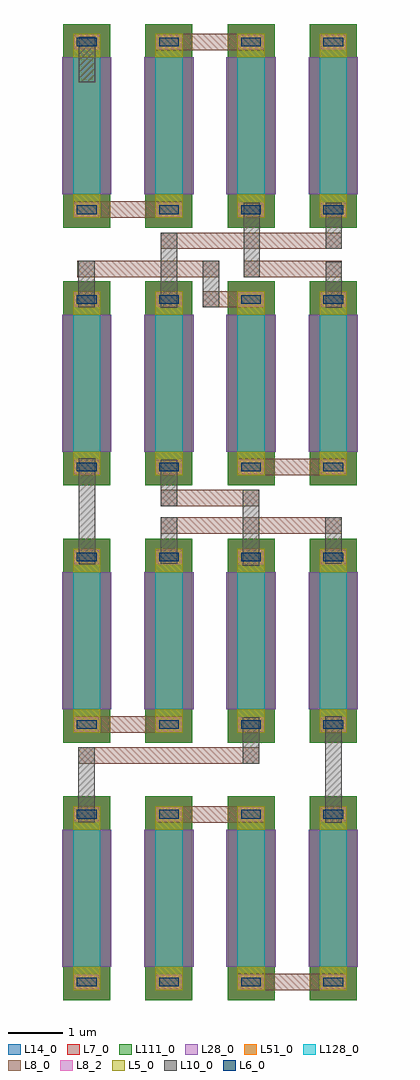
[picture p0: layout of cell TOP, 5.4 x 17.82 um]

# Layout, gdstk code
from math import pi, radians
import gdstk
lib = gdstk.Library(unit=1e-6, precision=1e-09)
def R(c, l, rs):  # rectangles x0, y0, x1, y1
    for r in rs: c.add(gdstk.rectangle(r[:2], r[2:], *l))
L5_0 = (5, 0)
L6_0 = (6, 0)
L7_0 = (7, 0)
L8_0 = (8, 0)
L8_2 = (8, 2)
L10_0 = (10, 0)
L14_0 = (14, 0)
L28_0 = (28, 0)
L51_0 = (51, 0)
L111_0 = (111, 0)
L128_0 = (128, 0)

rhigh = lib.new_cell('rhigh')
R(rhigh, L5_0, [(0,-0.43,0.5,0), (0,2.5,0.5,2.93)])
R(rhigh, L6_0, [(0.07,-0.36,0.43,-0.2), (0.07,2.7,0.43,2.86)])
R(rhigh, L7_0, [(-0.18,-0.61,0.68,0.18), (-0.18,0,0.68,2.5), (-0.18,0,0.68,2.5), (-0.18,2.32,0.68,3.11)])
R(rhigh, L8_0, [(0.02,-0.41,0.48,-0.15), (0.02,2.65,0.48,2.91)])
R(rhigh, L8_2, [(0.02,-0.41,0.48,-0.15), (0.02,-0.41,0.48,-0.15), (0.02,2.65,0.48,2.91), (0.02,2.65,0.48,2.91)])
R(rhigh, L14_0, [(-0.18,-0.61,0.68,0.18), (-0.18,0,0.68,2.5), (-0.18,0,0.68,2.5), (-0.18,2.32,0.68,3.11)])
R(rhigh, L28_0, [(-0.2,0,0.7,2.5)])
R(rhigh, L51_0, [(0,0,0.5,2.5)])
R(rhigh, L111_0, [(-0.18,-0.61,0.68,0.18), (-0.2,0,0.7,2.5), (-0.18,2.32,0.68,3.11)])
R(rhigh, L128_0, [(0,0,0.5,2.5)])
rhigh.add(gdstk.Label('rhigh', (0.25,1.25), layer=51, texttype=0))
rhigh.add(gdstk.Label('rpnd r=7711.304', (0.25,1.25), layer=63, texttype=0))

top = lib.new_cell('TOP')
R(top, L8_0, [(17.024,3.798,19.024,4.098), (15.524,6.859,17.524,7.159), (14.117,7.932,17.426,8.232), (14.024,8.499,16.024,8.799), (15.627,12.134,18.928,12.434), (15.626,12.632,17.424,12.932), (17.024,13.199,19.024,13.499), (16.396,16.264,17.524,16.564), (14.1,16.818,16.696,17.118), (17.136,16.818,18.934,17.118), (15.625,17.332,18.934,17.632), (14.024,17.899,16.024,18.199), (15.524,20.959,17.524,21.259)])
R(top, L10_0, [(18.627,6.854,18.927,8.802), (14.117,6.86,14.417,8.232), (17.126,7.932,17.426,8.779), (17.124,11.549,17.424,12.932), (14.128,11.579,14.428,13.507), (15.627,11.58,15.927,12.434), (18.628,11.58,18.928,12.434), (15.626,12.632,15.926,13.479), (15.625,16.26,15.925,17.632), (18.634,16.261,18.934,17.1), (14.12,16.264,14.42,17.118), (16.396,16.264,16.696,17.118), (17.136,16.818,17.436,18.179), (18.634,17.332,18.934,18.179), (14.125,20.379,14.425,21.205)])
r = gdstk.Reference(rhigh, (19.024,20.829), rotation=pi); r.repetition = gdstk.Repetition(4, 4, v1=(-1.5,0), v2=(0,-4.7)); top.add(r)

lib.write_gds('TOP.gds')
